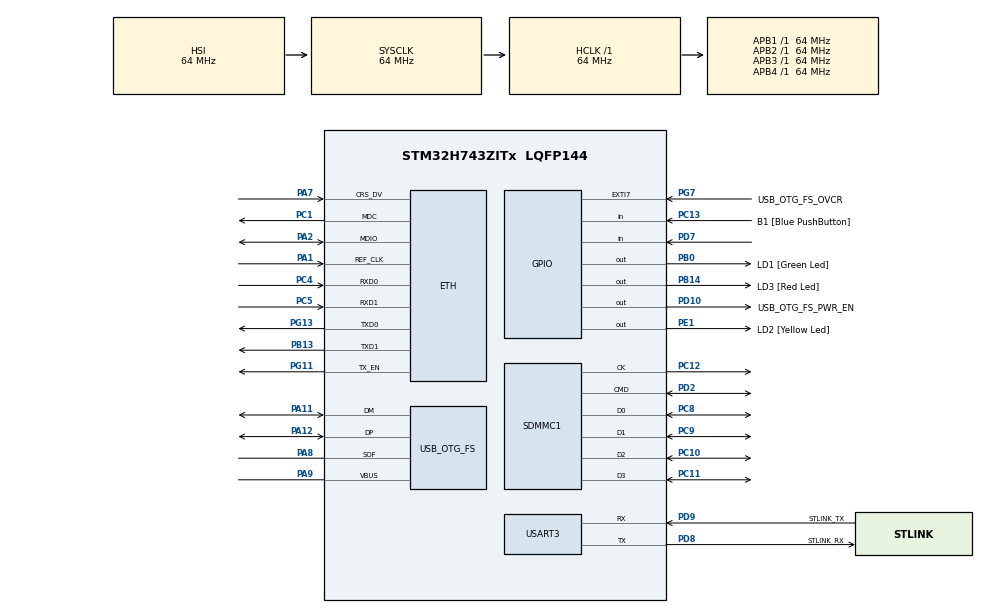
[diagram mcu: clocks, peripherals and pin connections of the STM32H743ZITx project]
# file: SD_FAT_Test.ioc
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ETH.MediaInterface=HAL_ETH_RMII_MODE
FATFS.BSP.number=1
FATFS0.BSP.STBoard=false
FATFS0.BSP.api=Unknown
FATFS0.BSP.i2caddr=0
FATFS0.BSP.instance=PD7
FATFS0.BSP.ip=GPIO
FATFS0.BSP.mode=Input
FATFS0.BSP.name=Detect_SDIO
FATFS0.BSP.solution=PD7
Mcu.Family=STM32H7
Mcu.Name=STM32H743ZITx
Mcu.Package=LQFP144
NVIC.PriorityGroup=NVIC_PRIORITYGROUP_4
PA1.Mode=RMII
PA1.Signal=ETH_REF_CLK
PA11.Mode=Device_Only
PA11.Signal=USB_OTG_FS_DM
PA12.Mode=Device_Only
PA12.Signal=USB_OTG_FS_DP
PA2.Mode=RMII
PA2.Signal=ETH_MDIO
PA7.Mode=RMII
PA7.Signal=ETH_CRS_DV
PA8.Mode=Activate_SOF_FS
PA8.Signal=USB_OTG_FS_SOF
PA9.Mode=Activate_VBUS
PA9.Signal=USB_OTG_FS_VBUS
PB0.GPIO_Label=LD1 [Green Led]
PB0.Signal=GPIO_Output
PB13.Mode=RMII
PB13.Signal=ETH_TXD1
PB14.GPIO_Label=LD3 [Red Led]
PB14.Signal=GPIO_Output
PC1.Mode=RMII
PC1.Signal=ETH_MDC
PC10.Mode=SD_4_bits_Wide_bus
PC10.Signal=SDMMC1_D2
PC11.Mode=SD_4_bits_Wide_bus
PC11.Signal=SDMMC1_D3
PC12.Mode=SD_4_bits_Wide_bus
PC12.Signal=SDMMC1_CK
PC13.GPIO_Label=B1 [Blue PushButton]
PC13.Signal=GPIO_Input
PC14-OSC32_IN\ (OSC32_IN).Mode=LSE-External-Oscillator
PC14-OSC32_IN\ (OSC32_IN).Signal=RCC_OSC32_IN
PC15-OSC32_OUT\ (OSC32_OUT).Mode=LSE-External-Oscillator
PC15-OSC32_OUT\ (OSC32_OUT).Signal=RCC_OSC32_OUT
PC4.Mode=RMII
PC4.Signal=ETH_RXD0
PC5.Mode=RMII
PC5.Signal=ETH_RXD1
PC8.Mode=SD_4_bits_Wide_bus
PC8.Signal=SDMMC1_D0
PC9.Mode=SD_4_bits_Wide_bus
PC9.Signal=SDMMC1_D1
PD10.GPIO_Label=USB_OTG_FS_PWR_EN
PD10.Signal=GPIO_Output
PD2.Mode=SD_4_bits_Wide_bus
PD2.Signal=SDMMC1_CMD
PD7.Signal=GPIO_Input
PD8.GPIO_Label=STLINK_RX
PD8.Mode=Asynchronous
PD8.Signal=USART3_TX
PD9.GPIO_Label=STLINK_TX
PD9.Mode=Asynchronous
PD9.Signal=USART3_RX
PE1.GPIO_Label=LD2 [Yellow Led]
PE1.Signal=GPIO_Output
PG11.Mode=RMII
PG11.Signal=ETH_TX_EN
PG13.Mode=RMII
PG13.Signal=ETH_TXD0
PG7.GPIO_Label=USB_OTG_FS_OVCR
PG7.Signal=GPXTI7
PH0-OSC_IN\ (PH0).Mode=HSE-External-Clock-Source
PH0-OSC_IN\ (PH0).Signal=RCC_OSC_IN
PH1-OSC_OUT\ (PH1).Signal=RCC_OSC_OUT
ProjectManager.HeapSize=0x200
ProjectManager.StackSize=0x400
ProjectManager.TargetToolchain=STM32CubeIDE
RCC.ADCFreq_Value=16125000
RCC.APB1Freq_Value=64000000
RCC.APB2Freq_Value=64000000
RCC.APB3Freq_Value=64000000
RCC.APB4Freq_Value=64000000
RCC.CortexFreq_Value=64000000
RCC.DIVM1=1
RCC.DIVN1=24
RCC.DIVQ1=4
RCC.HCLKFreq_Value=64000000
RCC.HSE_VALUE=8000000
RCC.PLLFRACN=0
RCC.PWR_Regulator_Voltage_Scale=PWR_REGULATOR_VOLTAGE_SCALE2
RCC.SYSCLKFreq_VALUE=64000000
RCC.USBFreq_Value=48000000
USART3.VirtualMode-Asynchronous=VM_ASYNC
USB_OTG_FS.VirtualMode=Device_Only
VP_FATFS_VS_SDIO.Mode=SDIO
board=NUCLEO-H743ZI2

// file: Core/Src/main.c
/* USER CODE BEGIN Header */
/**
  ******************************************************************************
  * @file           : main.c
  * @brief          : Main program body
  ******************************************************************************
  * @attention
  *
  * Copyright (c) 2022 STMicroelectronics.
  * All rights reserved.
  *
  * This software is licensed under terms that can be found in the LICENSE file
  * in the root directory of this software component.
  * If no LICENSE file comes with this software, it is provided AS-IS.
  *
  ******************************************************************************
  */
/* USER CODE END Header */
#include "main.h"
#include "string.h"
#include "fatfs.h"

#if defined ( __ICCARM__ ) /*!< IAR Compiler */
#pragma location=0x30000000
ETH_DMADescTypeDef  DMARxDscrTab[ETH_RX_DESC_CNT]; /* Ethernet Rx DMA Descriptors */
#pragma location=0x30000200
ETH_DMADescTypeDef  DMATxDscrTab[ETH_TX_DESC_CNT]; /* Ethernet Tx DMA Descriptors */
#pragma location=0x30000260
uint8_t Rx_Buff[ETH_RX_DESC_CNT][ETH_MAX_PACKET_SIZE]; /* Ethernet Receive Buffers */

#elif defined ( __CC_ARM )  /* MDK ARM Compiler */

__attribute__((at(0x30000000))) ETH_DMADescTypeDef  DMARxDscrTab[ETH_RX_DESC_CNT]; /* Ethernet Rx DMA Descriptors */
__attribute__((at(0x30000200))) ETH_DMADescTypeDef  DMATxDscrTab[ETH_TX_DESC_CNT]; /* Ethernet Tx DMA Descriptors */
__attribute__((at(0x30000260))) uint8_t Rx_Buff[ETH_RX_DESC_CNT][ETH_MAX_PACKET_SIZE]; /* Ethernet Receive Buffer */

#elif defined ( __GNUC__ ) /* GNU Compiler */
ETH_DMADescTypeDef DMARxDscrTab[ETH_RX_DESC_CNT] __attribute__((section(".RxDecripSection"))); /* Ethernet Rx DMA Descriptors */
ETH_DMADescTypeDef DMATxDscrTab[ETH_TX_DESC_CNT] __attribute__((section(".TxDecripSection")));   /* Ethernet Tx DMA Descriptors */
uint8_t Rx_Buff[ETH_RX_DESC_CNT][ETH_MAX_PACKET_SIZE] __attribute__((section(".RxArraySection"))); /* Ethernet Receive Buffers */
#endif

ETH_TxPacketConfig TxConfig;

ETH_HandleTypeDef heth;

SD_HandleTypeDef hsd1;

UART_HandleTypeDef huart3;

PCD_HandleTypeDef hpcd_USB_OTG_FS;

void SystemClock_Config(void);
static void MX_GPIO_Init(void);
static void MX_ETH_Init(void);
static void MX_USART3_UART_Init(void);
static void MX_USB_OTG_FS_PCD_Init(void);
static void MX_SDMMC1_SD_Init(void);

int main(void)
{
  /* USER CODE BEGIN 1 */
	FRESULT res;
	uint32_t byteswritten, bytesread;
	uint8_t wtext[] = "STM32 FATFS works great!";
	uint8_t rtext[_MAX_SS];
  /* USER CODE END 1 */

  /* MCU Configuration--------------------------------------------------------*/

  /* Reset of all peripherals, Initializes the Flash interface and the Systick. */
  HAL_Init();

  /* Configure the system clock */
  SystemClock_Config();

  /* Initialize all configured peripherals */
  MX_GPIO_Init();
  MX_ETH_Init();
  MX_USART3_UART_Init();
  MX_USB_OTG_FS_PCD_Init();
  MX_SDMMC1_SD_Init();
  MX_FATFS_Init();
  /* USER CODE BEGIN 2 */
  // mount
  if (f_mount (&SDFatFS, (TCHAR const*) SDPath, 0) != FR_OK ){
      Error_Handler();
  }
  else{
      // format
      if (f_mkfs( (TCHAR const*) SDPath, FM_ANY, 0, rtext, sizeof(rtext)) != FR_OK){
          Error_Handler();
      }
      else{
          // create file
          if (f_open(&SDFile, "STM32.txt", FA_CREATE_ALWAYS | FA_WRITE) != FR_OK){
              Error_Handler();
          }
          else{
              // write to text file
              res = f_write(&SDFile, wtext, strlen((char*) wtext), (void *) &byteswritten);
              if ( (byteswritten == 0) || (res!= FR_OK) ){
                  Error_Handler();
              }
              else{
                  f_close(&SDFile);

                  // test read file
                  f_open(&SDFile, "STM32.txt", FA_READ);
                  memset(rtext, 0, sizeof(rtext));
                  res = f_read(&SDFile, rtext, sizeof(rtext), (UINT*) &bytesread);

                  if ( (bytesread == 0) || (res != FR_OK)){
                      Error_Handler();
                  }
                  else{
                      Error_Handler();
                  }
              }
          }
      }
  }

  f_mount(&SDFatFS, (TCHAR const*) NULL, 0);
  /* USER CODE END 2 */

  /* Infinite loop */
  while (1)
  {

  }
}

void SystemClock_Config(void)
{
  RCC_OscInitTypeDef RCC_OscInitStruct = {0};
  RCC_ClkInitTypeDef RCC_ClkInitStruct = {0};

  /** Supply configuration update enable
  */
  HAL_PWREx_ConfigSupply(PWR_LDO_SUPPLY);

  /** Configure the main internal regulator output voltage
  */
  __HAL_PWR_VOLTAGESCALING_CONFIG(PWR_REGULATOR_VOLTAGE_SCALE2);

  while(!__HAL_PWR_GET_FLAG(PWR_FLAG_VOSRDY)) {}

  /** Initializes the RCC Oscillators according to the specified parameters
  * in the RCC_OscInitTypeDef structure.
  */
  RCC_OscInitStruct.OscillatorType = RCC_OSCILLATORTYPE_HSI|RCC_OSCILLATORTYPE_HSE;
  RCC_OscInitStruct.HSEState = RCC_HSE_BYPASS;
  RCC_OscInitStruct.HSIState = RCC_HSI_DIV1;
  RCC_OscInitStruct.HSICalibrationValue = RCC_HSICALIBRATION_DEFAULT;
  RCC_OscInitStruct.PLL.PLLState = RCC_PLL_ON;
  RCC_OscInitStruct.PLL.PLLSource = RCC_PLLSOURCE_HSE;
  RCC_OscInitStruct.PLL.PLLM = 1;
  RCC_OscInitStruct.PLL.PLLN = 24;
  RCC_OscInitStruct.PLL.PLLP = 2;
  RCC_OscInitStruct.PLL.PLLQ = 4;
  RCC_OscInitStruct.PLL.PLLR = 2;
  RCC_OscInitStruct.PLL.PLLRGE = RCC_PLL1VCIRANGE_3;
  RCC_OscInitStruct.PLL.PLLVCOSEL = RCC_PLL1VCOWIDE;
  RCC_OscInitStruct.PLL.PLLFRACN = 0;
  if (HAL_RCC_OscConfig(&RCC_OscInitStruct) != HAL_OK)
  {
    Error_Handler();
  }

  /** Initializes the CPU, AHB and APB buses clocks
  */
  RCC_ClkInitStruct.ClockType = RCC_CLOCKTYPE_HCLK|RCC_CLOCKTYPE_SYSCLK
                              |RCC_CLOCKTYPE_PCLK1|RCC_CLOCKTYPE_PCLK2
                              |RCC_CLOCKTYPE_D3PCLK1|RCC_CLOCKTYPE_D1PCLK1;
  RCC_ClkInitStruct.SYSCLKSource = RCC_SYSCLKSOURCE_HSI;
  RCC_ClkInitStruct.SYSCLKDivider = RCC_SYSCLK_DIV1;
  RCC_ClkInitStruct.AHBCLKDivider = RCC_HCLK_DIV1;
  RCC_ClkInitStruct.APB3CLKDivider = RCC_APB3_DIV1;
  RCC_ClkInitStruct.APB1CLKDivider = RCC_APB1_DIV1;
  RCC_ClkInitStruct.APB2CLKDivider = RCC_APB2_DIV1;
  RCC_ClkInitStruct.APB4CLKDivider = RCC_APB4_DIV1;

  if (HAL_RCC_ClockConfig(&RCC_ClkInitStruct, FLASH_LATENCY_1) != HAL_OK)
  {
    Error_Handler();
  }
}

static void MX_ETH_Init(void)
{

   static uint8_t MACAddr[6];

  heth.Instance = ETH;
  MACAddr[0] = 0x00;
  MACAddr[1] = 0x80;
  MACAddr[2] = 0xE1;
  MACAddr[3] = 0x00;
  MACAddr[4] = 0x00;
  MACAddr[5] = 0x00;
  heth.Init.MACAddr = &MACAddr[0];
  heth.Init.MediaInterface = HAL_ETH_RMII_MODE;
  heth.Init.TxDesc = DMATxDscrTab;
  heth.Init.RxDesc = DMARxDscrTab;
  heth.Init.RxBuffLen = 1524;

  if (HAL_ETH_Init(&heth) != HAL_OK)
  {
    Error_Handler();
  }

  memset(&TxConfig, 0 , sizeof(ETH_TxPacketConfig));
  TxConfig.Attributes = ETH_TX_PACKETS_FEATURES_CSUM | ETH_TX_PACKETS_FEATURES_CRCPAD;
  TxConfig.ChecksumCtrl = ETH_CHECKSUM_IPHDR_PAYLOAD_INSERT_PHDR_CALC;
  TxConfig.CRCPadCtrl = ETH_CRC_PAD_INSERT;

}

static void MX_SDMMC1_SD_Init(void)
{

  hsd1.Instance = SDMMC1;
  hsd1.Init.ClockEdge = SDMMC_CLOCK_EDGE_RISING;
  hsd1.Init.ClockPowerSave = SDMMC_CLOCK_POWER_SAVE_DISABLE;
  hsd1.Init.BusWide = SDMMC_BUS_WIDE_4B;
  hsd1.Init.HardwareFlowControl = SDMMC_HARDWARE_FLOW_CONTROL_DISABLE;
  hsd1.Init.ClockDiv = 0;

}

static void MX_USART3_UART_Init(void)
{

  huart3.Instance = USART3;
  huart3.Init.BaudRate = 115200;
  huart3.Init.WordLength = UART_WORDLENGTH_8B;
  huart3.Init.StopBits = UART_STOPBITS_1;
  huart3.Init.Parity = UART_PARITY_NONE;
  huart3.Init.Mode = UART_MODE_TX_RX;
  huart3.Init.HwFlowCtl = UART_HWCONTROL_NONE;
  huart3.Init.OverSampling = UART_OVERSAMPLING_16;
  huart3.Init.OneBitSampling = UART_ONE_BIT_SAMPLE_DISABLE;
  huart3.Init.ClockPrescaler = UART_PRESCALER_DIV1;
  huart3.AdvancedInit.AdvFeatureInit = UART_ADVFEATURE_NO_INIT;
  if (HAL_UART_Init(&huart3) != HAL_OK)
  {
    Error_Handler();
  }
  if (HAL_UARTEx_SetTxFifoThreshold(&huart3, UART_TXFIFO_THRESHOLD_1_8) != HAL_OK)
  {
    Error_Handler();
  }
  if (HAL_UARTEx_SetRxFifoThreshold(&huart3, UART_RXFIFO_THRESHOLD_1_8) != HAL_OK)
  {
    Error_Handler();
  }
  if (HAL_UARTEx_DisableFifoMode(&huart3) != HAL_OK)
  {
    Error_Handler();
  }

}

static void MX_USB_OTG_FS_PCD_Init(void)
{

  hpcd_USB_OTG_FS.Instance = USB_OTG_FS;
  hpcd_USB_OTG_FS.Init.dev_endpoints = 9;
  hpcd_USB_OTG_FS.Init.speed = PCD_SPEED_FULL;
  hpcd_USB_OTG_FS.Init.dma_enable = DISABLE;
  hpcd_USB_OTG_FS.Init.phy_itface = PCD_PHY_EMBEDDED;
  hpcd_USB_OTG_FS.Init.Sof_enable = ENABLE;
  hpcd_USB_OTG_FS.Init.low_power_enable = DISABLE;
  hpcd_USB_OTG_FS.Init.lpm_enable = DISABLE;
  hpcd_USB_OTG_FS.Init.battery_charging_enable = ENABLE;
  hpcd_USB_OTG_FS.Init.vbus_sensing_enable = ENABLE;
  hpcd_USB_OTG_FS.Init.use_dedicated_ep1 = DISABLE;
  if (HAL_PCD_Init(&hpcd_USB_OTG_FS) != HAL_OK)
  {
    Error_Handler();
  }

}

static void MX_GPIO_Init(void)
{
  GPIO_InitTypeDef GPIO_InitStruct = {0};

  /* GPIO Ports Clock Enable */
  __HAL_RCC_GPIOC_CLK_ENABLE();
  __HAL_RCC_GPIOH_CLK_ENABLE();
  __HAL_RCC_GPIOA_CLK_ENABLE();
  __HAL_RCC_GPIOB_CLK_ENABLE();
  __HAL_RCC_GPIOD_CLK_ENABLE();
  __HAL_RCC_GPIOG_CLK_ENABLE();
  __HAL_RCC_GPIOE_CLK_ENABLE();

  /*Configure GPIO pin Output Level */
  HAL_GPIO_WritePin(GPIOB, LD1_Pin|LD3_Pin, GPIO_PIN_RESET);

  /*Configure GPIO pin Output Level */
  HAL_GPIO_WritePin(USB_OTG_FS_PWR_EN_GPIO_Port, USB_OTG_FS_PWR_EN_Pin, GPIO_PIN_RESET);

  /*Configure GPIO pin Output Level */
  HAL_GPIO_WritePin(LD2_GPIO_Port, LD2_Pin, GPIO_PIN_RESET);

  /*Configure GPIO pin : B1_Pin */
  GPIO_InitStruct.Pin = B1_Pin;
  GPIO_InitStruct.Mode = GPIO_MODE_INPUT;
  GPIO_InitStruct.Pull = GPIO_NOPULL;
  HAL_GPIO_Init(B1_GPIO_Port, &GPIO_InitStruct);

  /*Configure GPIO pins : LD1_Pin LD3_Pin */
  GPIO_InitStruct.Pin = LD1_Pin|LD3_Pin;
  GPIO_InitStruct.Mode = GPIO_MODE_OUTPUT_PP;
  GPIO_InitStruct.Pull = GPIO_NOPULL;
  GPIO_InitStruct.Speed = GPIO_SPEED_FREQ_LOW;
  HAL_GPIO_Init(GPIOB, &GPIO_InitStruct);

  /*Configure GPIO pin : USB_OTG_FS_PWR_EN_Pin */
  GPIO_InitStruct.Pin = USB_OTG_FS_PWR_EN_Pin;
  GPIO_InitStruct.Mode = GPIO_MODE_OUTPUT_PP;
  GPIO_InitStruct.Pull = GPIO_NOPULL;
  GPIO_InitStruct.Speed = GPIO_SPEED_FREQ_LOW;
  HAL_GPIO_Init(USB_OTG_FS_PWR_EN_GPIO_Port, &GPIO_InitStruct);

  /*Configure GPIO pin : USB_OTG_FS_OVCR_Pin */
  GPIO_InitStruct.Pin = USB_OTG_FS_OVCR_Pin;
  GPIO_InitStruct.Mode = GPIO_MODE_IT_RISING;
  GPIO_InitStruct.Pull = GPIO_NOPULL;
  HAL_GPIO_Init(USB_OTG_FS_OVCR_GPIO_Port, &GPIO_InitStruct);

  /*Configure GPIO pin : PD7 */
  GPIO_InitStruct.Pin = GPIO_PIN_7;
  GPIO_InitStruct.Mode = GPIO_MODE_INPUT;
  GPIO_InitStruct.Pull = GPIO_NOPULL;
  HAL_GPIO_Init(GPIOD, &GPIO_InitStruct);

  /*Configure GPIO pin : LD2_Pin */
  GPIO_InitStruct.Pin = LD2_Pin;
  GPIO_InitStruct.Mode = GPIO_MODE_OUTPUT_PP;
  GPIO_InitStruct.Pull = GPIO_NOPULL;
  GPIO_InitStruct.Speed = GPIO_SPEED_FREQ_LOW;
  HAL_GPIO_Init(LD2_GPIO_Port, &GPIO_InitStruct);

}

void Error_Handler(void)
{
  __disable_irq();
  while (1)
  {
  }
}
